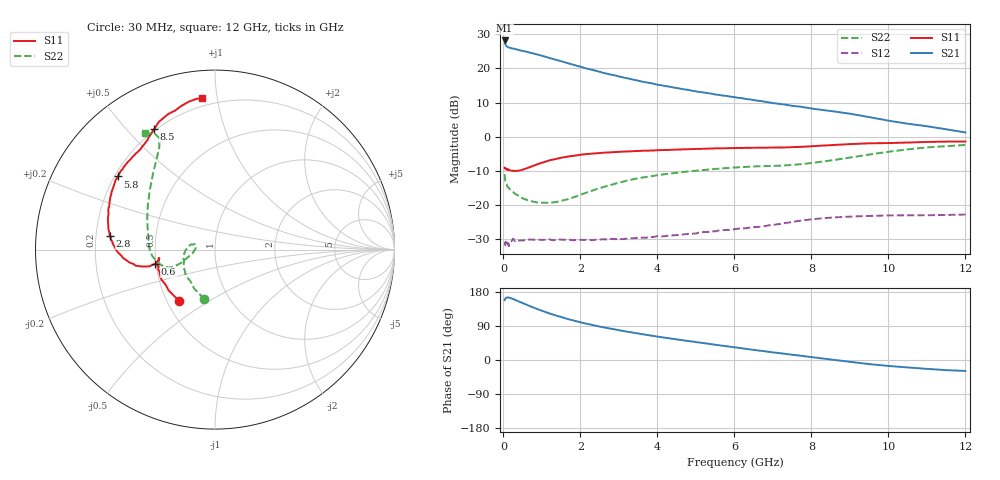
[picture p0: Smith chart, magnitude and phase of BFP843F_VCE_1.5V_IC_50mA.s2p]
! Infineon Technologies  Discrete & RF Semiconductors
! BFP843F
! VCE =  1.5 V,  IC =  50 mA
! Common Emitter S-Parameters:  Aug 2013
# GHz  S  MA  R  50
!  f  S11  S21  S12  S22
! GHz  MAG  ANG  MAG  ANG  MAG  ANG  MAG  ANG
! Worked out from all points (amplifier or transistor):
!   103 points, 30 MHz to 12 GHz, reference 50 ohm
!   highest |S21| = 28.2 dB at 30 MHz (marker M1)
!   |S21| within 3 dB of that: start of sweep to 474 MHz
!   unconditionally stable (mu >= 1): 54.36 MHz to end of sweep
!   at 400 MHz: K = 1.11, MAG = 25.9 dB, |S12| = -30.5 dB
!   at 3.7 GHz: K = 1.47, MAG = 18.7 dB, |S12| = -29.6 dB
!   at 12 GHz: K = 1.21, MAG = 9.3 dB, |S12| = -22.8 dB
!   S11 on the Smith chart (normalised r, x): 30 MHz: 0.58, -0.37; 600 MHz: 0.49, -0.09; 2.8 GHz: 0.26, +0.06; 5.8 GHz: 0.21, +0.32; 8.5 GHz: 0.19, +0.60; 12 GHz: 0.15, +0.91
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0.03  0.3488 -125.1  25.75 157.9  0.0253 26.9  0.2823 -102.0
0.04  0.3441 -138.6  23.75 159.4  0.0254 23.1  0.2455 -118.6
0.05  0.3377 -144.7  22.55 162.3  0.0285 23.3  0.2228 -127.9
0.07  0.3369 -155.8  21.49 164.2  0.0275 10.3  0.2046 -145.8
0.1  0.3265 -163.3  20.81 165.0  0.0286 9.2  0.1851 -159.4
0.13  0.3251 -166.8  20.47 164.9  0.0274 10.6  0.1797 -168.1
0.6  0.3435 -166.7  17.62 146.0  0.0308 7.6  0.119 165.5
0.9  0.3969 -166.3  15.91 133.6  0.0309 7.0  0.1078 167.7
1.1  0.4316 -167.7  14.81 126.3  0.0309 7.3  0.1072 172.0
1.4  0.4767 -171.0  13.21 116.2  0.0313 8.7  0.1111 179.7
1.6  0.5025 -173.7  12.3 110.3  0.0308 9.3  0.1183 -175.0
2.1  0.5519 -179.9  10.22 97.0  0.0305 11.8  0.1474 -166.1
2.5  0.575 175.4  8.946 88.2  0.031 14.2  0.1755 -161.6
2.8  0.5909 172.5  8.089 82.4  0.0318 16.8  0.1965 -159.0
3.4  0.6137 166.0  6.807 71.6  0.0325 19.9  0.2399 -157.6
4.1  0.636 159.0  5.671 60.3  0.0345 24.8  0.2768 -159.0
5.8  0.6771 143.0  3.96 36.3  0.043 31.3  0.3463 -172.9
6.1  0.6838 140.1  3.71 32.1  0.0448 32.6  0.3555 -176.3
7  0.6922 130.3  3.11 20.1  0.0506 34.7  0.372 172.8
8.5  0.7512 116.9  2.38 1.4  0.065 28.0  0.4475 146.8
10.5  0.8205 103.5  1.549 -19.6  0.0702 18.5  0.6515 118.4
12  0.8474 94.8  1.154 -28.9  0.0722 17.6  0.7551 120.9
